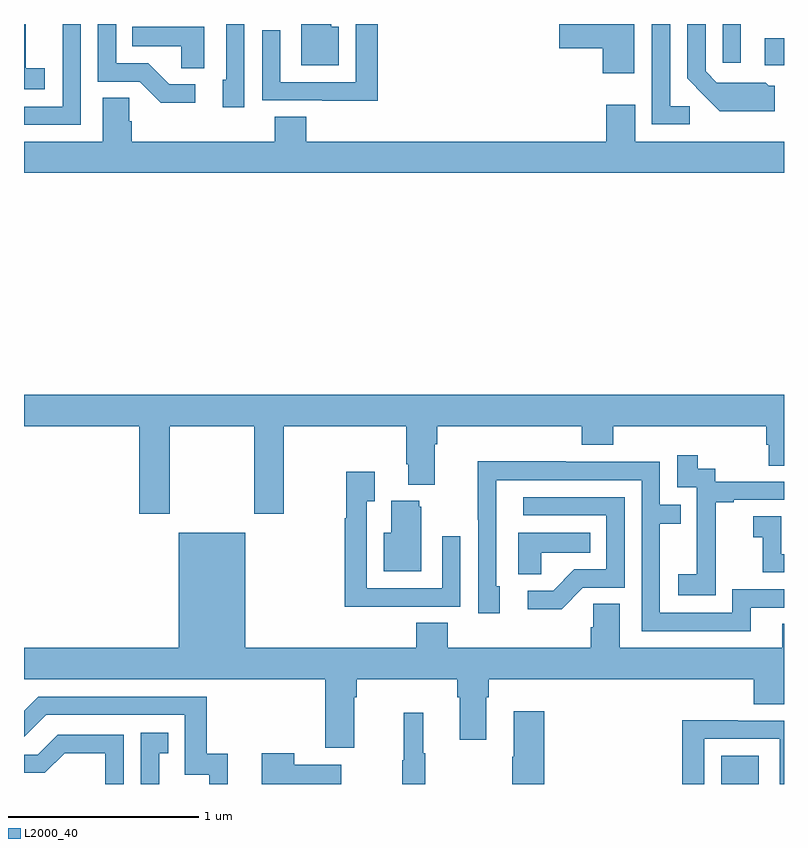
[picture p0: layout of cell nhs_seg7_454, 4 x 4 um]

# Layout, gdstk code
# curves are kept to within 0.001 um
import gdstk
lib = gdstk.Library(unit=1e-6, precision=1e-09)
def R(c, l, rs):  # rectangles x0, y0, x1, y1
    for r in rs: c.add(gdstk.rectangle(r[:2], r[2:], *l))
def P(c, l, *ps):  # polygons
    for p in ps: c.add(gdstk.Polygon(p, *l))
L2000_40 = (2000, 40)

nhs_seg7_454 = lib.new_cell('nhs_seg7_454')
R(nhs_seg7_454, L2000_40, [(148.67,1064,148.867,1064.149), (148.899,1067.784,149,1067.924), (148.677,1067.796,148.773,1068)])
P(nhs_seg7_454, L2000_40, [(146.861,1068),(146.745,1068),(146.745,1067.694),(146.349,1067.694),(146.349,1067.968),(146.253,1067.968),(146.253,1067.598),(146.569,1067.598),(146.569,1067.597),(146.861,1067.597)],
  [(148.213,1068),(147.816,1068),(147.816,1067.873),(148.046,1067.873),(148.046,1067.742),(148.213,1067.742)],
  [(148.504,1067.568),(148.401,1067.568),(148.401,1068),(148.305,1068),(148.305,1067.472),(148.504,1067.472)],
  [(145.108,1067.767),(145.01,1067.767),(145.01,1067.996),(145.008,1067.996),(145.008,1068),(145,1068),(145,1067.657),(145.108,1067.657)],
  [(146.656,1067.986),(146.617,1067.986),(146.617,1068),(146.459,1068),(146.459,1067.783),(146.656,1067.783)],
  [(146.16,1068),(146.064,1068),(146.064,1067.706),(146.045,1067.706),(146.045,1067.562),(146.16,1067.562)],
  [(145.299,1068),(145.203,1068),(145.203,1067.565),(145,1067.565),(145,1067.469),(145.299,1067.469)],
  [(148.951,1067.676),(148.92,1067.676),(148.904,1067.692),(148.647,1067.691),(148.587,1067.751),(148.587,1068),(148.491,1068),(148.491,1067.714),(148.663,1067.54),(148.951,1067.54)],
  [(145.9,1067.682),(145.765,1067.682),(145.654,1067.793),(145.485,1067.793),(145.485,1068),(145.389,1068),(145.389,1067.697),(145.608,1067.697),(145.721,1067.585),(145.9,1067.585)],
  [(145.948,1067.986),(145.57,1067.986),(145.57,1067.882),(145.827,1067.882),(145.827,1067.767),(145.948,1067.767)],
  [(149,1067.38),(148.216,1067.38),(148.216,1067.575),(148.064,1067.575),(148.064,1067.38),(146.486,1067.38),(146.486,1067.513),(146.321,1067.513),(146.321,1067.38),(145.568,1067.38),(145.568,1067.489),(145.554,1067.489),(145.554,1067.612),(145.415,1067.612),(145.415,1067.38),(145,1067.38),(145,1067.216),(149,1067.216)],
  [(145.767,1065.884),(146.212,1065.884),(146.212,1065.423),(146.367,1065.423),(146.367,1065.884),(147.011,1065.884),(147.011,1065.682),(147.023,1065.682),(147.023,1065.575),(147.163,1065.575),(147.163,1065.788),(147.176,1065.788),(147.176,1065.884),(147.935,1065.884),(147.935,1065.785),(148.1,1065.785),(148.1,1065.884),(148.907,1065.884),(148.907,1065.786),(148.919,1065.786),(148.919,1065.676),(149,1065.676),(149,1066.048),(145,1066.048),(145,1065.884),(145.607,1065.884),(145.607,1065.423),(145.767,1065.423)],
  [(148.641,1065.199),(148.64,1065.199),(148.64,1065.483),(148.735,1065.483),(148.735,1065.495),(149,1065.495),(149,1065.591),(148.638,1065.591),(148.638,1065.66),(148.546,1065.66),(148.546,1065.73),(148.437,1065.73),(148.437,1065.561),(148.542,1065.561),(148.542,1065.332),(148.541,1065.332),(148.541,1065.103),(148.443,1065.103),(148.443,1064.993),(148.641,1064.993)],
  [(148.825,1064.928),(149,1064.928),(149,1065.024),(148.728,1065.024),(148.728,1064.901),(148.347,1064.901),(148.347,1065.37),(148.457,1065.37),(148.457,1065.471),(148.347,1065.471),(148.347,1065.696),(147.851,1065.696),(147.851,1065.698),(147.388,1065.698),(147.388,1065.391),(147.39,1065.391),(147.39,1064.898),(147.505,1064.898),(147.505,1065.042),(147.486,1065.042),(147.486,1065.6),(148.251,1065.6),(148.251,1064.805),(148.825,1064.805)],
  [(146.981,1064.934),(147.297,1064.934),(147.297,1065.304),(147.201,1065.304),(147.201,1065.03),(146.805,1065.03),(146.805,1065.487),(146.845,1065.487),(146.845,1065.643),(146.697,1065.643),(146.697,1065.398),(146.689,1065.398),(146.689,1064.933),(146.981,1064.933)],
  [(147.942,1065.033),(148.161,1065.033),(148.161,1065.51),(147.627,1065.51),(147.627,1065.414),(148.065,1065.414),(148.065,1065.129),(147.896,1065.129),(147.785,1065.018),(147.651,1065.018),(147.651,1064.921),(147.829,1064.921)],
  [(147.091,1065.459),(147.08,1065.459),(147.08,1065.49),(146.933,1065.49),(146.933,1065.322),(146.894,1065.322),(146.894,1065.119),(147.091,1065.119)],
  [(149,1065.21),(148.986,1065.21),(148.986,1065.409),(148.839,1065.409),(148.839,1065.299),(148.888,1065.299),(148.888,1065.114),(149,1065.114)],
  [(147.723,1065.218),(147.98,1065.218),(147.98,1065.322),(147.602,1065.322),(147.602,1065.103),(147.723,1065.103)],
  [(146.737,1064.456),(146.75,1064.456),(146.75,1064.552),(147.281,1064.552),(147.281,1064.456),(147.293,1064.456),(147.293,1064.232),(147.433,1064.232),(147.433,1064.456),(147.446,1064.456),(147.446,1064.552),(148.841,1064.552),(148.841,1064.419),(149,1064.419),(149,1064.843),(148.991,1064.843),(148.991,1064.716),(148.135,1064.716),(148.135,1064.948),(147.996,1064.948),(147.996,1064.825),(147.983,1064.825),(147.983,1064.716),(147.23,1064.716),(147.23,1064.849),(147.065,1064.849),(147.065,1064.716),(146.164,1064.716),(146.164,1065.322),(145.814,1065.322),(145.814,1064.716),(145,1064.716),(145,1064.552),(146.585,1064.552),(146.585,1064.19),(146.737,1064.19)],
  [(146.072,1064.158),(145.961,1064.158),(145.961,1064.46),(145.074,1064.46),(145,1064.386),(145,1064.248),(145.116,1064.364),(145.845,1064.364),(145.845,1064.049),(145.974,1064.049),(145.974,1064),(146.072,1064)],
  [(147.737,1064.383),(147.578,1064.383),(147.578,1064.144),(147.571,1064.144),(147.571,1064),(147.737,1064)],
  [(147.112,1064.161),(147.101,1064.161),(147.101,1064.374),(146.998,1064.374),(146.998,1064.124),(146.991,1064.124),(146.991,1064),(147.112,1064)],
  [(148.581,1064.238),(148.977,1064.238),(148.977,1064),(149,1064),(149,1064.334),(148.757,1064.334),(148.757,1064.336),(148.465,1064.336),(148.465,1064),(148.581,1064)],
  [(145.711,1064.163),(145.76,1064.163),(145.76,1064.269),(145.614,1064.269),(145.614,1064),(145.711,1064)],
  [(145.524,1064.259),(145.178,1064.259),(145.073,1064.154),(145,1064.154),(145,1064.058),(145.11,1064.058),(145.214,1064.162),(145.428,1064.162),(145.428,1064),(145.524,1064)],
  [(146.671,1064.101),(146.423,1064.101),(146.423,1064.161),(146.252,1064.161),(146.252,1064),(146.671,1064)])

lib.write_gds('nhs_seg7_454.gds')
